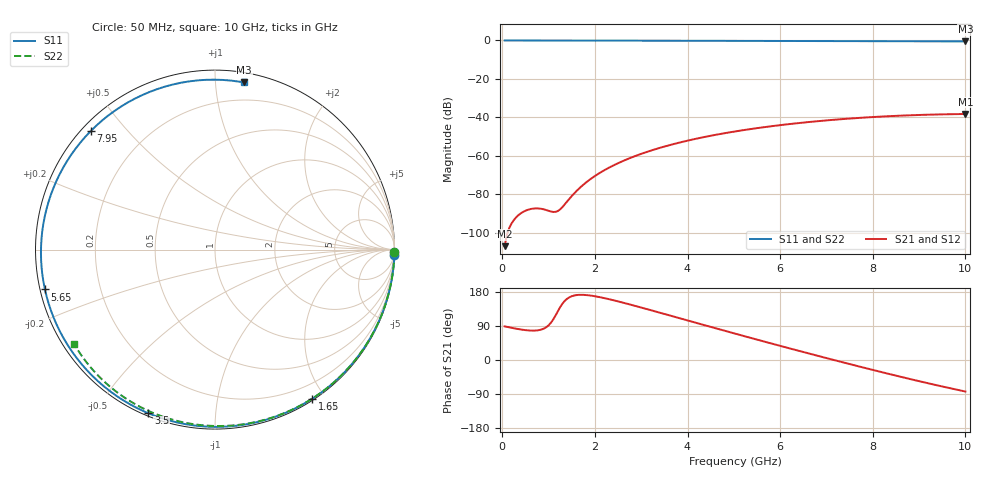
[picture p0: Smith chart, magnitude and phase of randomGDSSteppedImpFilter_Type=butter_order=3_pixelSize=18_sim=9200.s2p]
! freq	dB(S11)	phase(S11)	dB(S12)	phase(S12)
!  dB(S21)	phase(S21)	dB(S22)	phase(S22)
!S-par simulation data
#  GHz  S  DB  R 50
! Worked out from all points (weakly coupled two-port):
!   200 points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, 50 MHz to 10 GHz, reference 50 ohm
!   highest |S21| = -38.22 dB at 10 GHz (marker M1); lowest = -106.9 dB at 50 MHz (marker M2)
!   lowest |S11| = -0.5 dB at 10 GHz (marker M3), VSWR 35.45, Z = 3.4 + j59.3 ohm
!   |S11| at or under -10 dB: nowhere
!   |S22| runs from -0.5 to 0.0 dB; largest |S21 - S12| = 0
!   S11 on the Smith chart (normalised r, x): 50 MHz: 0, -64; 1.65 GHz: 0.02, -1.85; 3.5 GHz: 0.01, -0.67; 5.65 GHz: 0.01, -0.12; 7.95 GHz: 0.03, +0.40; 10 GHz: 0.07, +1.19
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0.05  -0.00 -1.8  -106.93 88.8  -106.93 88.8  -0.00 -0.9
0.4  -0.02 -14.2  -89.84 80.5  -89.84 80.5  -0.01 -6.8
0.75  -0.03 -26.5  -87.29 78.1  -87.29 78.1  -0.02 -12.7
1.5  -0.06 -52.0  -80.88 168.3  -80.88 168.3  -0.03 -25.2
1.55  -0.07 -53.6  -79.57 170.1  -79.57 170.1  -0.03 -26.0
1.65  -0.07 -56.9  -77.15 171.9  -77.15 171.9  -0.04 -27.7
1.75  -0.07 -60.1  -74.98 171.9  -74.98 171.9  -0.04 -29.3
2.05  -0.08 -69.7  -69.67 167.2  -69.67 167.2  -0.04 -34.2
2.45  -0.10 -82.0  -64.36 156.2  -64.36 156.2  -0.05 -40.7
2.9  -0.11 -95.3  -59.81 141.8  -59.81 141.8  -0.06 -47.9
3.4  -0.13 -109.4  -55.84 124.9  -55.84 124.9  -0.07 -55.7
3.5  -0.14 -112.1  -55.15 121.5  -55.15 121.5  -0.08 -57.2
4.3  -0.17 -133.3  -50.50 94.2  -50.50 94.2  -0.10 -69.4
5.05  -0.20 -152.1  -47.20 68.8  -47.20 68.8  -0.12 -80.4
5.65  -0.24 -166.8  -45.08 48.8  -45.08 48.8  -0.15 -88.9
6.15  -0.27 -178.9  -43.60 32.4  -43.60 32.4  -0.17 -95.9
6.7  -0.30 167.7  -42.21 14.6  -42.21 14.6  -0.20 -103.4
7.3  -0.34 152.9  -40.96 -4.5  -40.96 -4.5  -0.24 -111.4
7.95  -0.38 136.4  -39.88 -24.7  -39.88 -24.7  -0.29 -119.9
8.35  -0.41 126.0  -39.36 -36.8  -39.36 -36.8  -0.32 -125.1
9.2  -0.45 102.9  -38.58 -61.6  -38.58 -61.6  -0.40 -136.1
10  -0.49 80.1  -38.22 -83.2  -38.22 -83.2  -0.49 -146.4
